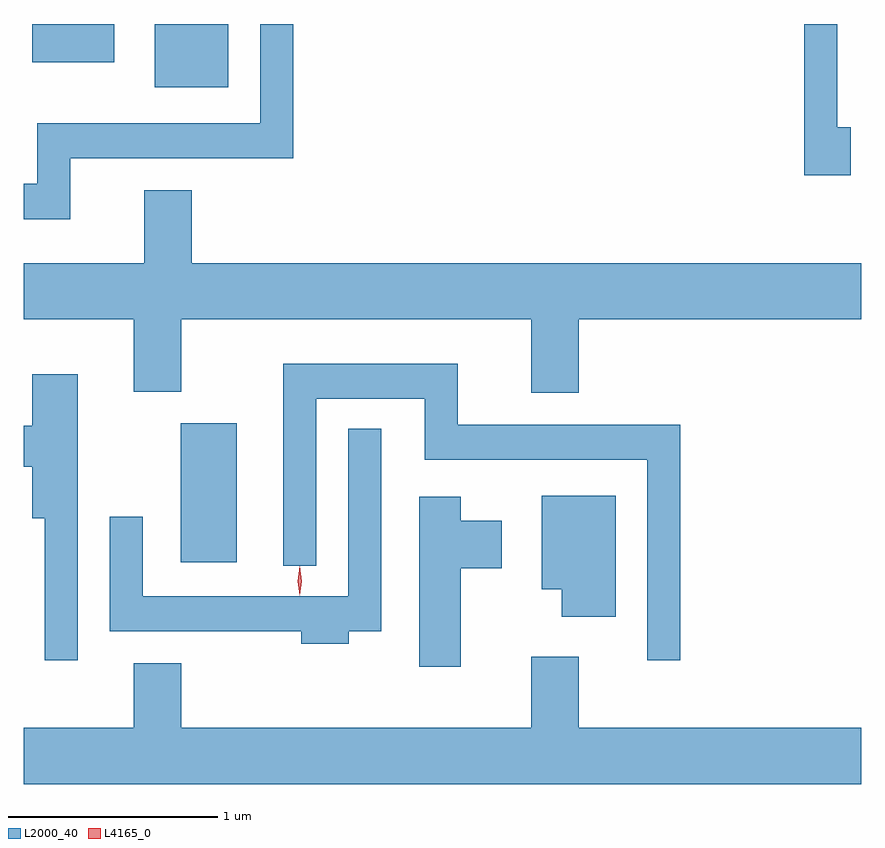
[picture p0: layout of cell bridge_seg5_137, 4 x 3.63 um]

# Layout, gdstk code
import gdstk
lib = gdstk.Library(unit=1e-6, precision=1e-09)
def R(c, l, rs):  # rectangles x0, y0, x1, y1
    for r in rs: c.add(gdstk.rectangle(r[:2], r[2:], *l))
def P(c, l, *ps):  # polygons
    for p in ps: c.add(gdstk.Polygon(p, *l))
L2000_40 = (2000, 40)
L4165_0 = (4165, 0)

bridge_seg5_137 = lib.new_cell('bridge_seg5_137')
R(bridge_seg5_137, L2000_40, [(1177.266,1415.676,1177.534,1416.339), (1177.141,1417.946,1177.494,1418.248), (1176.556,1418.066,1176.949,1418.248)])
P(bridge_seg5_137, L2000_40, [(1176.739,1417.606),(1177.804,1417.606),(1177.804,1418.248),(1177.646,1418.248),(1177.646,1417.774),(1176.581,1417.774),(1176.581,1417.484),(1176.517,1417.484),(1176.517,1417.316),(1176.739,1417.316)],
  [(1180.469,1417.754),(1180.404,1417.754),(1180.404,1418.248),(1180.246,1418.248),(1180.246,1417.526),(1180.469,1417.526)],
  [(1179.169,1416.836),(1180.517,1416.836),(1180.517,1417.104),(1177.319,1417.104),(1177.319,1417.454),(1177.091,1417.454),(1177.091,1417.104),(1176.517,1417.104),(1176.517,1416.836),(1177.041,1416.836),(1177.041,1416.491),(1177.269,1416.491),(1177.269,1416.836),(1178.941,1416.836),(1178.941,1416.486),(1179.169,1416.486)],
  [(1179.654,1416.334),(1178.589,1416.334),(1178.589,1416.624),(1177.756,1416.624),(1177.756,1415.658),(1177.914,1415.658),(1177.914,1416.456),(1178.431,1416.456),(1178.431,1416.166),(1179.496,1416.166),(1179.496,1415.208),(1179.654,1415.208)],
  [(1176.774,1416.574),(1176.556,1416.574),(1176.556,1416.329),(1176.517,1416.329),(1176.517,1416.131),(1176.556,1416.131),(1176.556,1415.886),(1176.616,1415.886),(1176.616,1415.208),(1176.774,1415.208)],
  [(1178.069,1415.346),(1178.224,1415.346),(1178.224,1416.313),(1178.066,1416.313),(1178.066,1415.514),(1177.084,1415.514),(1177.084,1415.893),(1176.926,1415.893),(1176.926,1415.346),(1177.841,1415.346),(1177.841,1415.286),(1178.069,1415.286)],
  [(1179.344,1415.994),(1178.991,1415.994),(1178.991,1415.546),(1179.086,1415.546),(1179.086,1415.416),(1179.344,1415.416)],
  [(1178.604,1415.646),(1178.799,1415.646),(1178.799,1415.874),(1178.604,1415.874),(1178.604,1415.989),(1178.406,1415.989),(1178.406,1415.176),(1178.604,1415.176)],
  [(1180.517,1414.884),(1179.169,1414.884),(1179.169,1415.224),(1178.941,1415.224),(1178.941,1414.884),(1177.269,1414.884),(1177.269,1415.194),(1177.041,1415.194),(1177.041,1414.884),(1176.517,1414.884),(1176.517,1414.616),(1180.517,1414.616)])
P(bridge_seg5_137, L4165_0, [(1177.834,1415.517),(1177.825,1415.586),(1177.834,1415.656),(1177.835,1415.656),(1177.835,1415.656),(1177.845,1415.586),(1177.835,1415.517),(1177.835,1415.517)])

lib.write_gds('bridge_seg5_137.gds')
